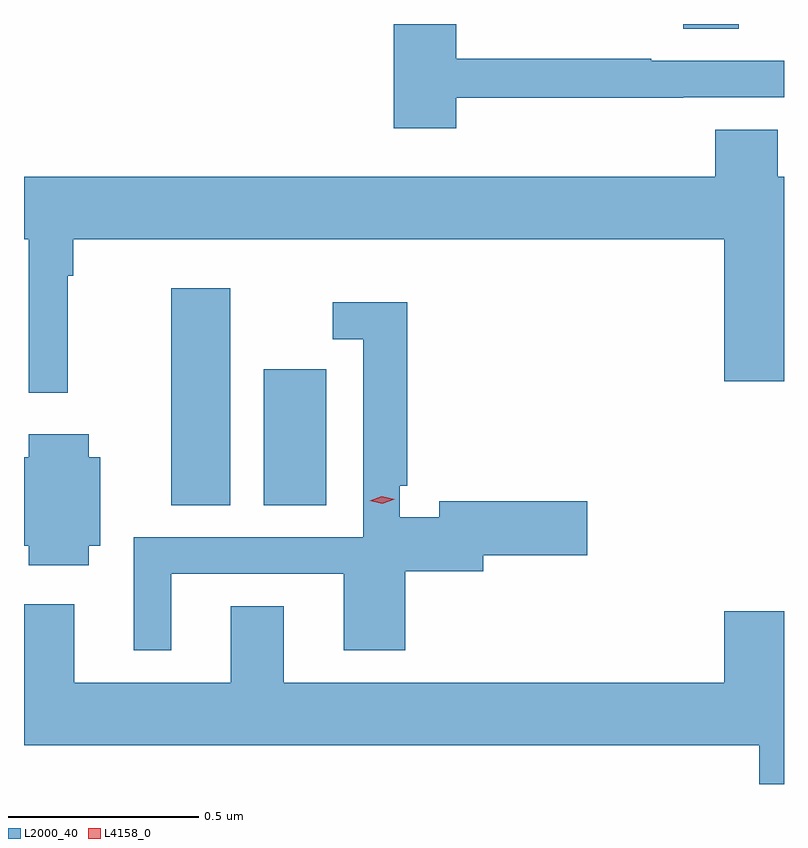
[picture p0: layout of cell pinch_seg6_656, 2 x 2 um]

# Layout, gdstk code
import gdstk
lib = gdstk.Library(unit=1e-6, precision=1e-09)
def R(c, l, rs):  # rectangles x0, y0, x1, y1
    for r in rs: c.add(gdstk.rectangle(r[:2], r[2:], *l))
def P(c, l, *ps):  # polygons
    for p in ps: c.add(gdstk.Polygon(p, *l))
L2000_40 = (2000, 40)
L4158_0 = (4158, 0)

pinch_seg6_656 = lib.new_cell('pinch_seg6_656')
R(pinch_seg6_656, L2000_40, [(391.325,937.312,391.48,937.882), (391.568,937.312,391.732,937.669), (392.672,938.566,392.818,938.578)])
P(pinch_seg6_656, L2000_40, [(392.075,938.384),(392.672,938.384),(392.672,938.385),(392.937,938.385),(392.937,938.481),(392.588,938.481),(392.588,938.486),(392.075,938.486),(392.075,938.578),(391.91,938.578),(391.91,938.304),(392.075,938.304)],
  [(391.052,937.916),(391.067,937.916),(391.067,938.012),(392.78,938.012),(392.78,937.638),(392.937,937.638),(392.937,938.176),(392.921,938.176),(392.921,938.3),(392.756,938.3),(392.756,938.176),(390.937,938.176),(390.937,938.012),(390.95,938.012),(390.95,937.608),(391.052,937.608)],
  [(391.324,937.131),(391.778,937.131),(391.778,936.93),(391.94,936.93),(391.94,937.138),(392.146,937.138),(392.146,937.18),(392.419,937.18),(392.419,937.322),(392.03,937.322),(392.03,937.28),(391.926,937.28),(391.926,937.363),(391.946,937.363),(391.946,937.846),(391.749,937.846),(391.749,937.749),(391.83,937.749),(391.83,937.227),(391.226,937.227),(391.226,936.93),(391.324,936.93)],
  [(391.108,937.205),(391.138,937.205),(391.138,937.438),(391.108,937.438),(391.108,937.498),(390.95,937.498),(390.95,937.438),(390.937,937.438),(390.937,937.205),(390.95,937.205),(390.95,937.154),(391.108,937.154)],
  [(392.937,937.033),(392.78,937.033),(392.78,936.844),(391.621,936.844),(391.621,937.046),(391.481,937.046),(391.481,936.844),(391.069,936.844),(391.069,937.051),(390.937,937.051),(390.937,936.68),(392.872,936.68),(392.872,936.578),(392.937,936.578)])
P(pinch_seg6_656, L4158_0, [(391.88,937.315),(391.847,937.323),(391.847,937.323),(391.847,937.323),(391.879,937.335),(391.912,937.328),(391.912,937.327),(391.912,937.327)])

lib.write_gds('pinch_seg6_656.gds')
